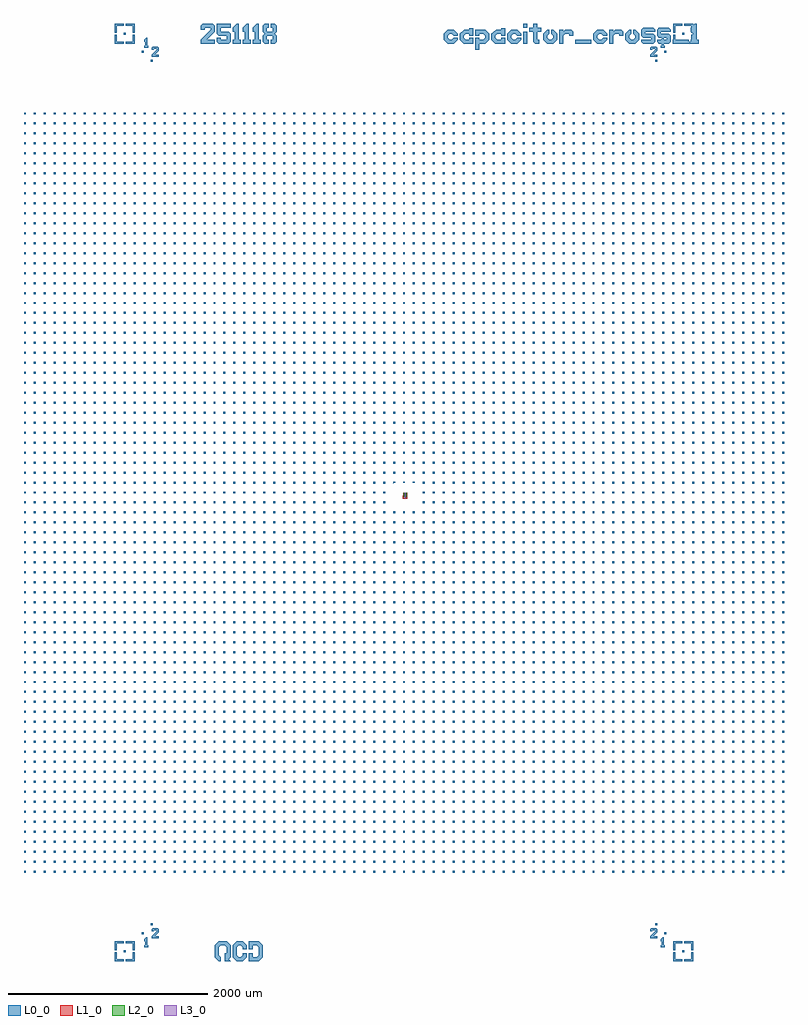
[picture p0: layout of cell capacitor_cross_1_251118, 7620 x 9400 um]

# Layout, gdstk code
import gdstk
lib = gdstk.Library(unit=1e-6, precision=1e-09)
def R(c, l, rs):  # rectangles x0, y0, x1, y1
    for r in rs: c.add(gdstk.rectangle(r[:2], r[2:], *l))
def A(c, l, x, y, w, h, nx, ny, dx, dy):  # array of equal rectangles
    R(c, l, [(x+i*dx, y+j*dy, x+i*dx+w, y+j*dy+h) for i in range(nx) for j in range(ny)])
def P(c, l, *ps):  # polygons
    for p in ps: c.add(gdstk.Polygon(p, *l))
L0_0 = (0, 0)
L1_0 = (1, 0)
L2_0 = (2, 0)
L3_0 = (3, 0)

remarks = lib.new_cell('remarks')
R(remarks, L0_0, [(-2810,-4610,-2790,-4590), (2790,-4610,2810,-4590), (-2630,-4430,-2610,-4410), (2610,-4430,2630,-4410), (-2540,-4340,-2520,-4320), (2520,-4340,2540,-4320), (-2540,4320,-2520,4340), (2520,4320,2540,4340), (-2630,4410,-2610,4430), (2610,4410,2630,4430), (1196.667,4500,1236.667,4620), (1716.667,4500,1876.667,4540), (2696.667,4500,2856.667,4540), (-2810,4590,-2790,4610), (2790,4590,2810,4610), (1196.667,4660,1236.667,4700)])
P(remarks, L0_0, [(436.667,4500),(396.667,4540),(396.667,4600),(436.667,4640),(496.667,4640),(536.667,4600),(536.667,4580),(496.667,4580),(476.667,4600),(456.667,4600),(436.667,4580),(436.667,4560),(456.667,4540),(476.667,4540),(496.667,4560),(536.667,4560),(536.667,4540),(496.667,4500)],
  [(596.667,4500),(556.667,4540),(556.667,4600),(603.467,4640),(656.667,4640),(656.667,4655),(696.667,4655),(696.667,4580),(656.667,4580),(656.667,4600),(616.667,4600),(596.667,4580),(596.667,4560),(616.667,4540),(656.667,4540),(656.667,4560),(696.667,4560),(696.667,4500)],
  [(716.667,4440),(716.667,4560),(756.667,4560),(756.667,4540),(796.667,4540),(816.667,4560),(816.667,4580),(796.667,4600),(756.667,4600),(756.667,4580),(716.667,4580),(716.667,4640),(816.667,4640),(856.667,4600),(856.667,4540),(816.667,4500),(756.667,4500),(756.667,4440)],
  [(916.667,4500),(876.667,4540),(876.667,4600),(923.467,4640),(976.667,4640),(976.667,4655),(1016.667,4655),(1016.667,4580),(976.667,4580),(976.667,4600),(936.667,4600),(916.667,4580),(916.667,4560),(936.667,4540),(976.667,4540),(976.667,4560),(1016.667,4560),(1016.667,4500)],
  [(1076.667,4500),(1036.667,4540),(1036.667,4600),(1076.667,4640),(1136.667,4640),(1176.667,4600),(1176.667,4580),(1136.667,4580),(1116.667,4600),(1096.667,4600),(1076.667,4580),(1076.667,4560),(1096.667,4540),(1116.667,4540),(1136.667,4560),(1176.667,4560),(1176.667,4540),(1136.667,4500)],
  [(1316.667,4500),(1296.667,4520),(1296.667,4620),(1256.667,4620),(1256.667,4660),(1296.667,4660),(1296.667,4700),(1336.667,4700),(1336.667,4660),(1376.667,4660),(1376.667,4620),(1336.667,4620),(1336.667,4540),(1356.667,4540),(1356.667,4500)],
  [(1436.667,4500),(1396.667,4540),(1396.667,4600),(1436.667,4640),(1456.667,4640),(1456.667,4600),(1436.667,4580),(1436.667,4560),(1456.667,4540),(1476.667,4540),(1496.667,4560),(1496.667,4580),(1476.667,4600),(1476.667,4640),(1496.667,4640),(1536.667,4600),(1536.667,4540),(1496.667,4500)],
  [(1556.667,4500),(1556.667,4640),(1596.667,4640),(1596.667,4620),(1616.667,4640),(1676.667,4640),(1696.667,4620),(1696.667,4580),(1656.667,4580),(1656.667,4600),(1616.667,4600),(1596.667,4580),(1596.667,4500)],
  [(1936.667,4500),(1896.667,4540),(1896.667,4600),(1936.667,4640),(1996.667,4640),(2036.667,4600),(2036.667,4580),(1996.667,4580),(1976.667,4600),(1956.667,4600),(1936.667,4580),(1936.667,4560),(1956.667,4540),(1976.667,4540),(1996.667,4560),(2036.667,4560),(2036.667,4540),(1996.667,4500)],
  [(2056.667,4500),(2056.667,4640),(2096.667,4640),(2096.667,4620),(2116.667,4640),(2176.667,4640),(2196.667,4620),(2196.667,4580),(2156.667,4580),(2156.667,4600),(2116.667,4600),(2096.667,4580),(2096.667,4500)],
  [(2256.667,4500),(2216.667,4540),(2216.667,4600),(2256.667,4640),(2276.667,4640),(2276.667,4600),(2256.667,4580),(2256.667,4560),(2276.667,4540),(2296.667,4540),(2316.667,4560),(2316.667,4580),(2296.667,4600),(2296.667,4640),(2316.667,4640),(2356.667,4600),(2356.667,4540),(2316.667,4500)],
  [(2396.667,4500),(2376.667,4520),(2376.667,4540),(2476.667,4540),(2476.667,4560),(2396.667,4560),(2376.667,4580),(2376.667,4640),(2396.667,4660),(2496.667,4660),(2516.667,4640),(2516.667,4620),(2416.667,4620),(2416.667,4600),(2496.667,4600),(2516.667,4580),(2516.667,4520),(2496.667,4500)],
  [(2556.667,4500),(2536.667,4520),(2536.667,4540),(2636.667,4540),(2636.667,4560),(2556.667,4560),(2536.667,4580),(2536.667,4640),(2556.667,4660),(2656.667,4660),(2676.667,4640),(2676.667,4620),(2576.667,4620),(2576.667,4600),(2656.667,4600),(2676.667,4580),(2676.667,4520),(2656.667,4500)],
  [(2876.667,4500),(2876.667,4540),(2896.667,4540),(2896.667,4620),(2876.667,4620),(2876.667,4660),(2916.667,4700),(2936.667,4700),(2936.667,4540),(2956.667,4540),(2956.667,4500)],
  [(-2036.667,4500),(-2036.667,4540),(-1936.667,4640),(-1936.667,4660),(-1996.667,4660),(-1996.667,4640),(-2036.667,4640),(-2036.667,4680),(-2016.667,4700),(-1916.667,4700),(-1896.667,4680),(-1896.667,4620),(-1976.667,4540),(-1896.667,4540),(-1896.667,4500)],
  [(-1856.667,4500),(-1876.667,4520),(-1876.667,4560),(-1836.667,4560),(-1836.667,4540),(-1776.667,4540),(-1776.667,4580),(-1856.667,4580),(-1876.667,4600),(-1876.667,4700),(-1736.667,4700),(-1736.667,4660),(-1836.667,4660),(-1836.667,4620),(-1756.667,4620),(-1736.667,4600),(-1736.667,4520),(-1756.667,4500)],
  [(-1716.667,4500),(-1716.667,4540),(-1696.667,4540),(-1696.667,4620),(-1716.667,4620),(-1716.667,4660),(-1676.667,4700),(-1656.667,4700),(-1656.667,4540),(-1636.667,4540),(-1636.667,4500)],
  [(-1616.667,4500),(-1616.667,4540),(-1596.667,4540),(-1596.667,4620),(-1616.667,4620),(-1616.667,4660),(-1576.667,4700),(-1556.667,4700),(-1556.667,4540),(-1536.667,4540),(-1536.667,4500)],
  [(-1516.667,4500),(-1516.667,4540),(-1496.667,4540),(-1496.667,4620),(-1516.667,4620),(-1516.667,4660),(-1476.667,4700),(-1456.667,4700),(-1456.667,4540),(-1436.667,4540),(-1436.667,4500)],
  [(-1396.667,4500),(-1416.667,4520),(-1416.667,4580),(-1396.667,4600),(-1416.667,4620),(-1416.667,4680),(-1396.667,4700),(-1356.667,4700),(-1356.667,4660),(-1376.667,4660),(-1376.667,4620),(-1316.667,4620),(-1316.667,4660),(-1336.667,4660),(-1336.667,4700),(-1296.667,4700),(-1276.667,4680),(-1276.667,4620),(-1296.667,4600),(-1276.667,4580),(-1276.667,4520),(-1296.667,4500),(-1336.667,4500),(-1336.667,4540),(-1316.667,4540),(-1316.667,4580),(-1376.667,4580),(-1376.667,4540),(-1356.667,4540),(-1356.667,4500)],
  [(-1856.667,-4700),(-1896.667,-4660),(-1896.667,-4540),(-1856.667,-4500),(-1776.667,-4500),(-1736.667,-4540),(-1736.667,-4660),(-1756.667,-4680),(-1736.667,-4700),(-1796.667,-4700),(-1796.667,-4620),(-1776.667,-4620),(-1776.667,-4560),(-1796.667,-4540),(-1836.667,-4540),(-1856.667,-4560),(-1856.667,-4640),(-1836.667,-4660),(-1836.667,-4700)],
  [(-1676.667,-4700),(-1716.667,-4660),(-1716.667,-4540),(-1676.667,-4500),(-1616.667,-4500),(-1576.667,-4540),(-1576.667,-4580),(-1616.667,-4580),(-1616.667,-4560),(-1636.667,-4540),(-1656.667,-4540),(-1676.667,-4560),(-1676.667,-4640),(-1656.667,-4660),(-1636.667,-4660),(-1616.667,-4640),(-1616.667,-4620),(-1576.667,-4620),(-1576.667,-4660),(-1616.667,-4700)],
  [(-1556.667,-4700),(-1556.667,-4620),(-1516.667,-4620),(-1516.667,-4660),(-1476.667,-4660),(-1456.667,-4640),(-1456.667,-4560),(-1476.667,-4540),(-1516.667,-4540),(-1516.667,-4580),(-1556.667,-4580),(-1556.667,-4500),(-1456.667,-4500),(-1416.667,-4540),(-1416.667,-4660),(-1456.667,-4700)],
  [(-2900,-4590),(-2900,-4500),(-2810,-4500),(-2810,-4520),(-2880,-4520),(-2880,-4590)],
  [(-2900,4500),(-2900,4590),(-2880,4590),(-2880,4520),(-2810,4520),(-2810,4500)],
  [(2810,4500),(2810,4520),(2880,4520),(2880,4590),(2900,4590),(2900,4500)],
  [(2880,-4590),(2880,-4520),(2810,-4520),(2810,-4500),(2900,-4500),(2900,-4590)],
  [(-2900,-4700),(-2900,-4610),(-2880,-4610),(-2880,-4680),(-2810,-4680),(-2810,-4700)],
  [(-2900,4610),(-2900,4700),(-2810,4700),(-2810,4680),(-2880,4680),(-2880,4610)],
  [(2880,4610),(2880,4680),(2810,4680),(2810,4700),(2900,4700),(2900,4610)],
  [(2810,-4700),(2810,-4680),(2880,-4680),(2880,-4610),(2900,-4610),(2900,-4700)],
  [(-2790,-4700),(-2790,-4680),(-2720,-4680),(-2720,-4610),(-2700,-4610),(-2700,-4700)],
  [(-2720,4610),(-2720,4680),(-2790,4680),(-2790,4700),(-2700,4700),(-2700,4610)],
  [(2700,4610),(2700,4700),(2790,4700),(2790,4680),(2720,4680),(2720,4610)],
  [(2700,-4700),(2700,-4610),(2720,-4610),(2720,-4680),(2790,-4680),(2790,-4700)],
  [(-2720,-4590),(-2720,-4520),(-2790,-4520),(-2790,-4500),(-2700,-4500),(-2700,-4590)],
  [(-2790,4500),(-2790,4520),(-2720,4520),(-2720,4590),(-2700,4590),(-2700,4500)],
  [(2700,4500),(2700,4590),(2720,4590),(2720,4520),(2790,4520),(2790,4500)],
  [(2700,-4590),(2700,-4500),(2790,-4500),(2790,-4520),(2720,-4520),(2720,-4590)],
  [(-2605,-4560),(-2605,-4540),(-2595,-4540),(-2595,-4500),(-2605,-4500),(-2605,-4480),(-2585,-4460),(-2575,-4460),(-2575,-4540),(-2565,-4540),(-2565,-4560)],
  [(-2605,4460),(-2605,4480),(-2595,4480),(-2595,4520),(-2605,4520),(-2605,4540),(-2585,4560),(-2575,4560),(-2575,4480),(-2565,4480),(-2565,4460)],
  [(2575,4460),(2575,4480),(2585,4480),(2585,4520),(2575,4520),(2575,4540),(2595,4560),(2605,4560),(2605,4480),(2615,4480),(2615,4460)],
  [(2575,-4560),(2575,-4540),(2585,-4540),(2585,-4500),(2575,-4500),(2575,-4480),(2595,-4460),(2605,-4460),(2605,-4540),(2615,-4540),(2615,-4560)],
  [(-2530,-4470),(-2530,-4450),(-2480,-4400),(-2480,-4390),(-2510,-4390),(-2510,-4400),(-2530,-4400),(-2530,-4380),(-2520,-4370),(-2470,-4370),(-2460,-4380),(-2460,-4410),(-2500,-4450),(-2460,-4450),(-2460,-4470)],
  [(-2530,4370),(-2530,4390),(-2480,4440),(-2480,4450),(-2510,4450),(-2510,4440),(-2530,4440),(-2530,4460),(-2520,4470),(-2470,4470),(-2460,4460),(-2460,4430),(-2500,4390),(-2460,4390),(-2460,4370)],
  [(2470,4370),(2470,4390),(2520,4440),(2520,4450),(2490,4450),(2490,4440),(2470,4440),(2470,4460),(2480,4470),(2530,4470),(2540,4460),(2540,4430),(2500,4390),(2540,4390),(2540,4370)],
  [(2470,-4470),(2470,-4450),(2520,-4400),(2520,-4390),(2490,-4390),(2490,-4400),(2470,-4400),(2470,-4380),(2480,-4370),(2530,-4370),(2540,-4380),(2540,-4410),(2500,-4450),(2540,-4450),(2540,-4470)])

nb_inv = lib.new_cell('Nb_inv')
P(nb_inv, L1_0, [(-5.5,-30),(-5.5,0),(-2.5,0),(-2.5,-20),(22.5,-20),(22.5,-10),(2.5,-10),(2.5,0),(32.5,0),(32.5,-30)],
  [(-11,-65),(-11,-35),(32.5,-35),(32.5,-65),(5,-65),(5,-55),(22.5,-55),(22.5,-45),(-5,-45),(-5,-65)])

sio2 = lib.new_cell('SiO2')
R(sio2, L2_0, [(-2.5,-45,27.5,0)])

patch = lib.new_cell('Patch')
R(patch, L3_0, [(7.5,-60,17.5,-35), (7.5,-30,17.5,-5)])

unnamed_89 = lib.new_cell('Unnamed_89')
A(unnamed_89, L0_0, -3810, -3810, 20, 20, 77, 37, 100, 100)
A(unnamed_89, L0_0, -3810, -110, 20, 20, 37, 3, 100, 100)
A(unnamed_89, L0_0, 190, -110, 20, 20, 37, 3, 100, 100)
A(unnamed_89, L0_0, -3810, 190, 20, 20, 77, 37, 100, 100)
R(unnamed_89, L0_0, [(-10,100,10,110), (90,100,110,110)])
P(unnamed_89, L0_0, [(-110,90),(-110,110),(-90,110),(-90,100),(-105.5,100),(-105.5,90)])

capacitor_cross_1_251118 = lib.new_cell('capacitor_cross_1_251118')
capacitor_cross_1_251118.add(gdstk.Reference(remarks, (0,0)))
capacitor_cross_1_251118.add(gdstk.Reference(nb_inv, (0,0)))
capacitor_cross_1_251118.add(gdstk.Reference(sio2, (0,0)))
capacitor_cross_1_251118.add(gdstk.Reference(patch, (0,0)))
capacitor_cross_1_251118.add(gdstk.Reference(unnamed_89, (0,0)))

lib.write_gds('capacitor_cross_1_251118.gds')
